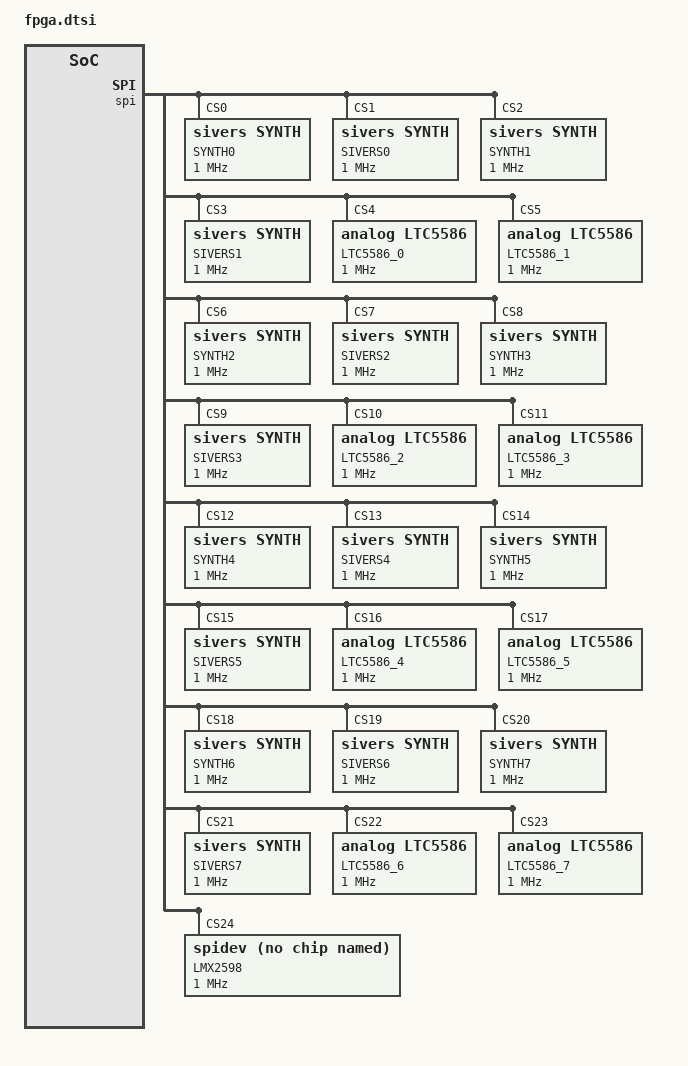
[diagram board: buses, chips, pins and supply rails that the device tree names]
&pl_gpio {
    xlnx,all-outputs = <0x0>;
    xlnx,dout-default = <0x00000000>;
    xlnx,tri-default = <0x00000000>;
};

&i2c_clk {
    clock-frequency = <100000>;
};

&spi {
     SYNTH0@0 {
         compatible = "sivers,synth";
	 reg = <0>;
	 spi-max-frequency = <1000000>;
     };
     SIVERS0@1 {
         compatible = "sivers,synth";
	 reg = <1>;
	 spi-max-frequency = <1000000>;
     };
     SYNTH1@2 {
         compatible = "sivers,synth";
	 reg = <2>;
	 spi-max-frequency = <1000000>;
     };
     SIVERS1@3 {
         compatible = "sivers,synth";
	 reg = <3>;
	 spi-max-frequency = <1000000>;
     };
     LTC5586_0@4 {
         compatible = "analog,LTC5586";
	 reg = <4>;
	 spi-max-frequency = <1000000>;
     };
     LTC5586_1@5 {
         compatible = "analog,LTC5586";
	 reg = <5>;
	 spi-max-frequency = <1000000>;
     };

     SYNTH2@6 {
         compatible = "sivers,synth";
	 reg = <6>;
	 spi-max-frequency = <1000000>;
     };
     SIVERS2@7 {
         compatible = "sivers,synth";
	 reg = <7>;
	 spi-max-frequency = <1000000>;
     };
     SYNTH3@8 {
         compatible = "sivers,synth";
	 reg = <8>;
	 spi-max-frequency = <1000000>;
     };
     SIVERS3@9 {
         compatible = "sivers,synth";
	 reg = <9>;
	 spi-max-frequency = <1000000>;
     };
     LTC5586_2@10 {
         compatible = "analog,LTC5586";
	 reg = <10>;
	 spi-max-frequency = <1000000>;
     };
     LTC5586_3@11 {
         compatible = "analog,LTC5586";
	 reg = <11>;
	 spi-max-frequency = <1000000>;
     };

     SYNTH4@12 {
         compatible = "sivers,synth";
	 reg = <12>;
	 spi-max-frequency = <1000000>;
     };
     SIVERS4@13 {
         compatible = "sivers,synth";
	 reg = <13>;
	 spi-max-frequency = <1000000>;
     };
     SYNTH5@14 {
         compatible = "sivers,synth";
	 reg = <14>;
	 spi-max-frequency = <1000000>;
     };
     SIVERS5@15 {
         compatible = "sivers,synth";
	 reg = <15>;
	 spi-max-frequency = <1000000>;
     };
     LTC5586_4@16 {
         compatible = "analog,LTC5586";
	 reg = <16>;
	 spi-max-frequency = <1000000>;
     };
     LTC5586_5@17 {
         compatible = "analog,LTC5586";
	 reg = <17>;
	 spi-max-frequency = <1000000>;
     };

     SYNTH6@18 {
         compatible = "sivers,synth";
	 reg = <18>;
	 spi-max-frequency = <1000000>;
     };
     SIVERS6@19 {
         compatible = "sivers,synth";
	 reg = <19>;
	 spi-max-frequency = <1000000>;
     };
     SYNTH7@20 {
         compatible = "sivers,synth";
	 reg = <20>;
	 spi-max-frequency = <1000000>;
     };
     SIVERS7@21 {
         compatible = "sivers,synth";
	 reg = <21>;
	 spi-max-frequency = <1000000>;
     };
     LTC5586_6@22 {
         compatible = "analog,LTC5586";
	 reg = <22>;
	 spi-max-frequency = <1000000>;
     };
     LTC5586_7@23 {
         compatible = "analog,LTC5586";
	 reg = <23>;
	 spi-max-frequency = <1000000>;
     };

     LMX2598@24 {
         status = "okay";
         compatible = "linux,spidev";
	 reg = <24>;
	 spi-max-frequency = <1000000>;
     };
};

&data_capture_samples_in0 {
    sample-direction = "in";
    sample-buffer-no = <0>;
};

&data_capture_samples_in1 {
    sample-direction = "in";
    sample-buffer-no = <1>;
};

&data_capture_samples_in2 {
    sample-direction = "in";
    sample-buffer-no = <2>;
};

&data_capture_samples_in3 {
    sample-direction = "in";
    sample-buffer-no = <3>;
};

&data_capture_samples_in4 {
    sample-direction = "in";
    sample-buffer-no = <4>;
};

&data_capture_samples_in5 {
    sample-direction = "in";
    sample-buffer-no = <5>;
};

&data_capture_samples_in6 {
    sample-direction = "in";
    sample-buffer-no = <6>;
};

&data_capture_samples_in7 {
    sample-direction = "in";
    sample-buffer-no = <7>;
};

&data_capture_samples_out0 {
    sample-direction = "out";
    sample-buffer-no = <0>;
};

&data_capture_samples_out1 {
    sample-direction = "out";
    sample-buffer-no = <1>;
};

&data_capture_samples_out2 {
    sample-direction = "out";
    sample-buffer-no = <2>;
};

&data_capture_samples_out3 {
    sample-direction = "out";
    sample-buffer-no = <3>;
};

&data_capture_samples_out4 {
    sample-direction = "out";
    sample-buffer-no = <4>;
};

&data_capture_samples_out5 {
    sample-direction = "out";
    sample-buffer-no = <5>;
};

&data_capture_samples_out6 {
    sample-direction = "out";
    sample-buffer-no = <6>;
};

&data_capture_samples_out7 {
    sample-direction = "out";
    sample-buffer-no = <7>;
};
